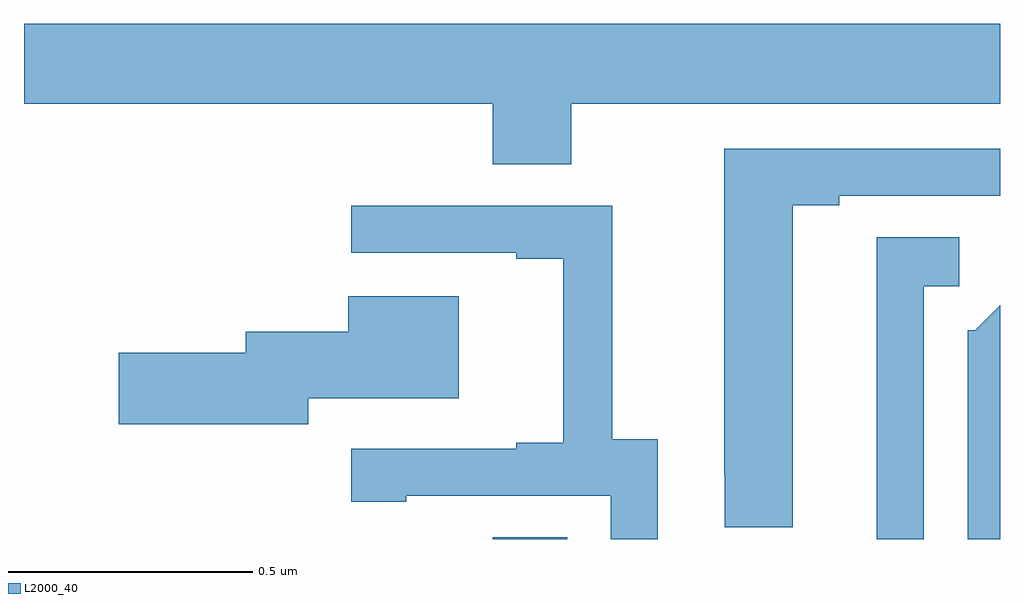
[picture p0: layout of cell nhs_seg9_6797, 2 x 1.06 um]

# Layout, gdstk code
import gdstk
lib = gdstk.Library(unit=1e-6, precision=1e-09)
def R(c, l, rs):  # rectangles x0, y0, x1, y1
    for r in rs: c.add(gdstk.rectangle(r[:2], r[2:], *l))
def P(c, l, *ps):  # polygons
    for p in ps: c.add(gdstk.Polygon(p, *l))
L2000_40 = (2000, 40)

nhs_seg9_6797 = lib.new_cell('nhs_seg9_6797')
R(nhs_seg9_6797, L2000_40, [(196.961,1223.5,197.113,1223.504)])
P(nhs_seg9_6797, L2000_40, [(197.121,1224.392),(198,1224.392),(198,1224.556),(196,1224.556),(196,1224.392),(196.961,1224.392),(196.961,1224.268),(197.121,1224.268)],
  [(197.575,1224.184),(197.671,1224.184),(197.671,1224.204),(198,1224.204),(198,1224.3),(197.435,1224.3),(197.435,1223.632),(197.436,1223.632),(197.436,1223.524),(197.575,1223.524)],
  [(197.299,1223.705),(197.205,1223.705),(197.205,1224.183),(196.671,1224.183),(196.671,1224.087),(197.009,1224.087),(197.009,1224.075),(197.105,1224.075),(197.105,1223.698),(197.009,1223.698),(197.009,1223.685),(196.671,1223.685),(196.671,1223.577),(196.783,1223.577),(196.783,1223.589),(197.202,1223.589),(197.202,1223.5),(197.299,1223.5)],
  [(197.844,1224.018),(197.917,1224.018),(197.917,1224.119),(197.747,1224.119),(197.747,1223.5),(197.844,1223.5)],
  [(196.582,1223.789),(196.891,1223.789),(196.891,1223.998),(196.664,1223.998),(196.664,1223.925),(196.454,1223.925),(196.454,1223.882),(196.194,1223.882),(196.194,1223.735),(196.582,1223.735)],
  [(198,1223.979),(197.949,1223.928),(197.934,1223.928),(197.934,1223.5),(198,1223.5)])

lib.write_gds('nhs_seg9_6797.gds')
